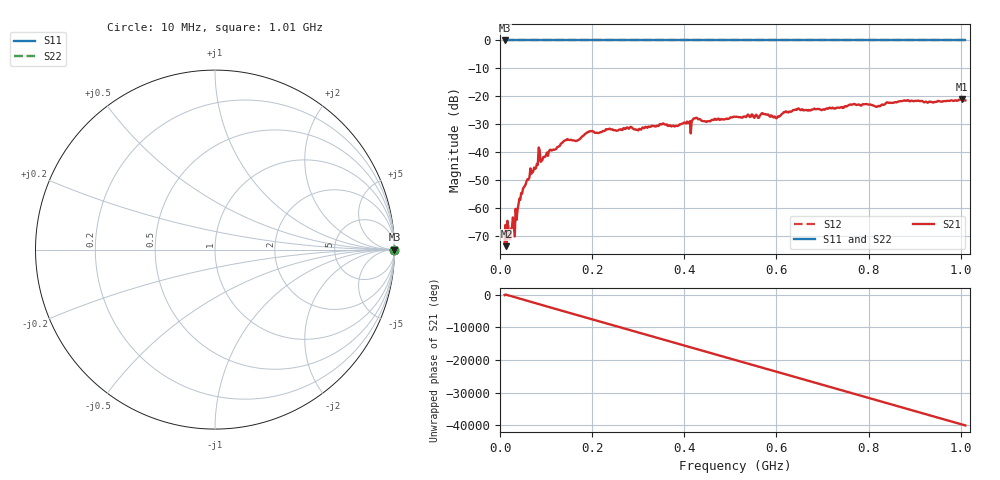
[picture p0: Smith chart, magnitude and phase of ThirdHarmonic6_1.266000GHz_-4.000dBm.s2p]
! 8/16/2025 1:39:06 PM
! C:\ANRITSUVNA\TEMP\TEMP.S2P
! CHANNEL.1
! TR.MEASUREMENT
! RAW.DATA
! RF.CORRECTION.OFF
! AVERAGING.OFF
! IF.BANDWIDTH: 5KHZ
! SWEEPTYPE:  FREQ.SWEEP(Linear)
! Reference Plane Port Info
! PORT:  PORT1  PORT2
! DISTANCE:  0  m  0  m
! TIME:  0  s  0  s
! PHASE.OFFSET:  0  deg.  0  deg.
! LOSS:  0  dB  0  dB
! REF.LOSS:  0  dB  0  dB
! REF.FREQ:  0  Hz  0  Hz
! Power Info
! POWER:  -20  dBm  -20  dBm
! EFF.POWER:  -20  dBm  -20  dBm
! SOURCE.ATTEN:  0  dB  0  dB
! TEST.ATTEN:  0  dB  0  dB
# GHZ S RI R 50.0
! FREQ.GHZ  S11RE  S11IM  S21RE  S21IM  S12RE  S12IM  S22RE  S22IM
!; PortSelection: Port_12
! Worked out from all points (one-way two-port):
!   501 points, 10 MHz to 1.01 GHz, reference 50 ohm
!   highest |S21| = -20.98 dB at 1.002 GHz (marker M1); lowest = -73.5 dB at 14 MHz (marker M2)
!   lowest |S11| = 0.0 dB at 10 MHz (marker M3)
!   |S11| at or under -10 dB: nowhere
!   |S22| runs from 0.0 to 0.0 dB; largest |S21 - S12| = 1.1
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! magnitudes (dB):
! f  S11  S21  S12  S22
! 10 MHz  0.0  -72.1  0.0  0.0
! 14 MHz  0.0  -73.5  0.0  0.0
! 18 MHz  0.0  -66.4  0.0  0.0
! 28 MHz  0.0  -63.2  0.0  0.0
! 34 MHz  0.0  -60.1  0.0  0.0
! 38 MHz  0.0  -60.5  0.0  0.0
! 50 MHz  0.0  -52.9  0.0  0.0
! 78 MHz  0.0  -45.6  0.0  0.0
! 84 MHz  0.0  -38.2  0.0  0.0
! 92 MHz  0.0  -42.7  0.0  0.0
! 142 MHz  0.0  -35.6  0.0  0.0
! 178 MHz  0.0  -34.3  0.0  0.0
! 196 MHz  0.0  -32.4  0.0  0.0
! 344 MHz  0.0  -30.6  0.0  0.0
! 510 MHz  0.0  -27.2  0.0  0.0
! 572 MHz  0.0  -26.3  0.0  0.0
! 598 MHz  0.0  -27.5  0.0  0.0
! 644 MHz  0.0  -24.8  0.0  0.0
! 678 MHz  0.0  -24.7  0.0  0.0
! 844 MHz  0.0  -22.3  0.0  0.0
! 1.002 GHz  0.0  -21.0  0.0  0.0
! 1.01 GHz  0.0  -21.4  0.0  0.0
